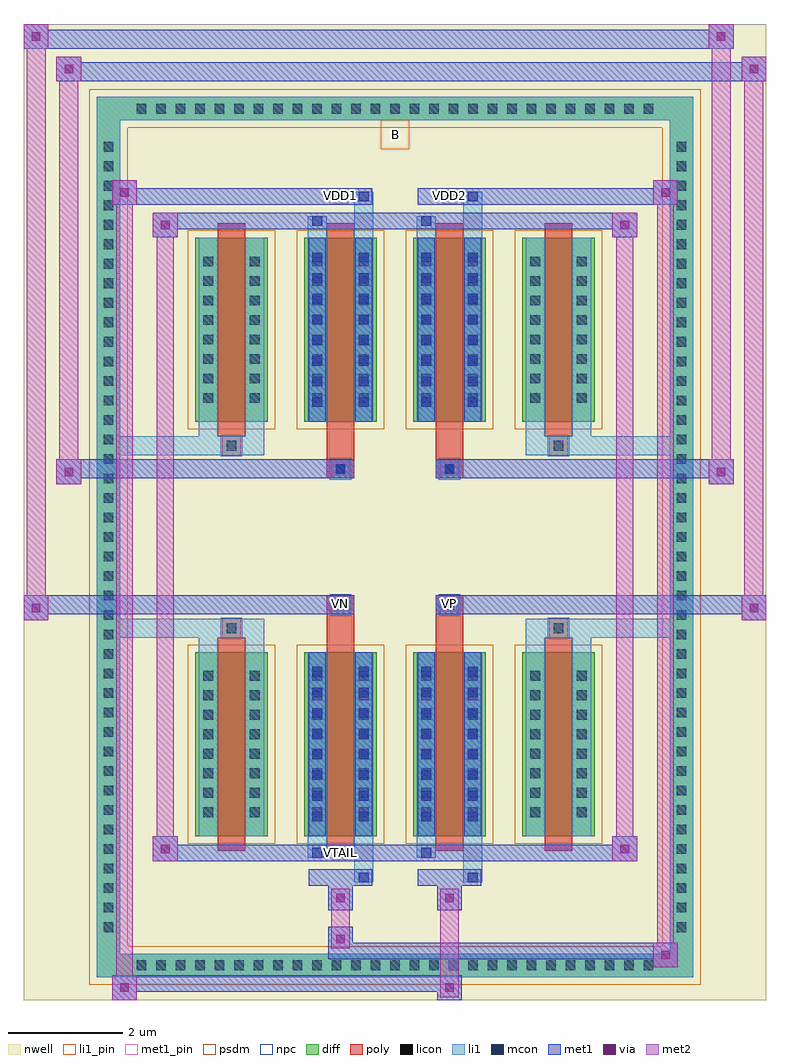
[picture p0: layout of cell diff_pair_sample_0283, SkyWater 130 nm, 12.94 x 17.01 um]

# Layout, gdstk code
import gdstk
lib = gdstk.Library(unit=1e-6, precision=5e-09)
def R(c, l, rs):  # rectangles x0, y0, x1, y1
    for r in rs: c.add(gdstk.rectangle(r[:2], r[2:], *l))
def A(c, l, x, y, w, h, nx, ny, dx, dy):  # array of equal rectangles
    R(c, l, [(x+i*dx, y+j*dy, x+i*dx+w, y+j*dy+h) for i in range(nx) for j in range(ny)])
def P(c, l, *ps):  # polygons
    for p in ps: c.add(gdstk.Polygon(p, *l))
nwell = (64, 20)
diff = (65, 20)
poly = (66, 20)
licon = (66, 44)
li1_pin = (67, 16)
li1 = (67, 20)
mcon = (67, 44)
met1_pin = (68, 16)
met1 = (68, 20)
via = (68, 44)
met2 = (69, 20)
psdm = (94, 20)
npc = (95, 20)

diff_pair_sample_0283 = lib.new_cell('diff_pair_sample_0283')
R(diff_pair_sample_0283, nwell, [(-6.47,-8.07,6.47,8.94), (-3.79,-6.26,-0.01,-0.82), (0.01,-6.26,3.79,-0.82), (-3.79,0.82,-0.01,6.26), (0.01,0.82,3.79,6.26)])
A(diff_pair_sample_0283, diff, -4.625, -7.67, 0.41, 0.41, 27, 2, 0.34, 14.93)
A(diff_pair_sample_0283, diff, -5.2, -7.005, 0.41, 0.41, 1, 41, 0, 0.34)
A(diff_pair_sample_0283, diff, 4.79, -7.005, 0.41, 0.41, 1, 41, 0, 0.34)
A(diff_pair_sample_0283, diff, -3.48, -5.215, 1.26, 3.21, 4, 2, 1.9, 7.22)
R(diff_pair_sample_0283, diff, [(-4.625,-7.67,4.625,-7.26), (-5.2,-7.005,-4.79,7.005), (4.79,-7.005,5.2,7.005), (-4.625,7.26,4.625,7.67)])
P(diff_pair_sample_0283, diff, [(5.2,7.67),(-5.2,7.67),(-5.2,-7.26),(-4.79,-7.26),(-4.79,7.26),(4.79,7.26),(4.79,-7.26),(-4.79,-7.26),(-5.2,-7.26),(-5.2,-7.67),(5.2,-7.67)])
A(diff_pair_sample_0283, poly, -3.09, -5.465, 0.48, 3.71, 4, 2, 1.9, 7.22)
R(diff_pair_sample_0283, poly, [(-3.015,-1.755,-2.685,-1.425), (-3.015,-1.755,-2.685,-1.425), (-1.19,-1.755,-0.71,-1.35), (0.71,-1.755,1.19,-1.35), (2.685,-1.755,3.015,-1.425), (2.685,-1.755,3.015,-1.425), (-1.19,-1.35,-0.71,-1.02), (-1.115,-1.35,-0.785,-1.02), (0.71,-1.35,1.19,-1.02), (0.785,-1.35,1.115,-1.02), (-1.19,1.02,-0.71,1.35), (-1.115,1.02,-0.785,1.35), (0.71,1.02,1.19,1.35), (0.785,1.02,1.115,1.35), (-1.19,1.35,-0.71,1.755), (0.71,1.35,1.19,1.755), (-3.015,1.425,-2.685,1.755), (-3.015,1.425,-2.685,1.755), (2.685,1.425,3.015,1.755), (2.685,1.425,3.015,1.755)])
A(diff_pair_sample_0283, licon, -4.505, -7.55, 0.17, 0.17, 27, 2, 0.34, 14.93)
A(diff_pair_sample_0283, licon, -5.08, -6.885, 0.17, 0.17, 1, 41, 0, 0.34)
A(diff_pair_sample_0283, licon, 4.91, -6.885, 0.17, 0.17, 1, 41, 0, 0.34)
A(diff_pair_sample_0283, licon, -3.34, -4.885, 0.17, 0.17, 1, 8, 0, 0.34)
A(diff_pair_sample_0283, licon, -2.53, -4.885, 0.17, 0.17, 1, 8, 0, 0.34)
A(diff_pair_sample_0283, licon, -1.44, -4.885, 0.17, 0.17, 1, 8, 0, 0.34)
A(diff_pair_sample_0283, licon, -0.63, -4.885, 0.17, 0.17, 1, 8, 0, 0.34)
A(diff_pair_sample_0283, licon, 0.46, -4.885, 0.17, 0.17, 1, 8, 0, 0.34)
A(diff_pair_sample_0283, licon, 1.27, -4.885, 0.17, 0.17, 1, 8, 0, 0.34)
A(diff_pair_sample_0283, licon, 2.36, -4.885, 0.17, 0.17, 1, 8, 0, 0.34)
A(diff_pair_sample_0283, licon, 3.17, -4.885, 0.17, 0.17, 1, 8, 0, 0.34)
A(diff_pair_sample_0283, licon, -3.34, 2.335, 0.17, 0.17, 1, 8, 0, 0.34)
A(diff_pair_sample_0283, licon, -2.53, 2.335, 0.17, 0.17, 1, 8, 0, 0.34)
A(diff_pair_sample_0283, licon, -1.44, 2.335, 0.17, 0.17, 1, 8, 0, 0.34)
A(diff_pair_sample_0283, licon, -0.63, 2.335, 0.17, 0.17, 1, 8, 0, 0.34)
A(diff_pair_sample_0283, licon, 0.46, 2.335, 0.17, 0.17, 1, 8, 0, 0.34)
A(diff_pair_sample_0283, licon, 1.27, 2.335, 0.17, 0.17, 1, 8, 0, 0.34)
A(diff_pair_sample_0283, licon, 2.36, 2.335, 0.17, 0.17, 1, 8, 0, 0.34)
A(diff_pair_sample_0283, licon, 3.17, 2.335, 0.17, 0.17, 1, 8, 0, 0.34)
R(diff_pair_sample_0283, licon, [(-2.935,-1.675,-2.765,-1.505), (2.765,-1.675,2.935,-1.505), (-1.035,-1.27,-0.865,-1.1), (0.865,-1.27,1.035,-1.1), (-1.035,1.1,-0.865,1.27), (0.865,1.1,1.035,1.27), (-2.935,1.505,-2.765,1.675), (2.765,1.505,2.935,1.675)])
R(diff_pair_sample_0283, li1_pin, [(-0.25,6.76,0.25,7.26)])
A(diff_pair_sample_0283, li1, -4.585, -7.63, 0.33, 0.33, 27, 2, 0.34, 14.93)
A(diff_pair_sample_0283, li1, -5.16, -6.965, 0.33, 0.33, 1, 41, 0, 0.34)
A(diff_pair_sample_0283, li1, 4.83, -6.965, 0.33, 0.33, 1, 41, 0, 0.34)
A(diff_pair_sample_0283, li1, -3.42, -4.965, 0.33, 0.33, 1, 8, 0, 0.34)
A(diff_pair_sample_0283, li1, -2.61, -4.965, 0.33, 0.33, 1, 8, 0, 0.34)
A(diff_pair_sample_0283, li1, -1.52, -4.965, 0.33, 0.33, 1, 8, 0, 0.34)
A(diff_pair_sample_0283, li1, -0.71, -4.965, 0.33, 0.33, 1, 8, 0, 0.34)
A(diff_pair_sample_0283, li1, 0.38, -4.965, 0.33, 0.33, 1, 8, 0, 0.34)
A(diff_pair_sample_0283, li1, 1.19, -4.965, 0.33, 0.33, 1, 8, 0, 0.34)
A(diff_pair_sample_0283, li1, 2.28, -4.965, 0.33, 0.33, 1, 8, 0, 0.34)
A(diff_pair_sample_0283, li1, 3.09, -4.965, 0.33, 0.33, 1, 8, 0, 0.34)
A(diff_pair_sample_0283, li1, -1.44, -4.955, 0.17, 0.17, 1, 8, 0, 0.36)
A(diff_pair_sample_0283, li1, -0.63, -4.955, 0.17, 0.17, 1, 8, 0, 0.36)
A(diff_pair_sample_0283, li1, 0.46, -4.955, 0.17, 0.17, 1, 8, 0, 0.36)
A(diff_pair_sample_0283, li1, 1.27, -4.955, 0.17, 0.17, 1, 8, 0, 0.36)
A(diff_pair_sample_0283, li1, -3.42, 2.255, 0.33, 0.33, 1, 8, 0, 0.34)
A(diff_pair_sample_0283, li1, -2.61, 2.255, 0.33, 0.33, 1, 8, 0, 0.34)
A(diff_pair_sample_0283, li1, -1.52, 2.255, 0.33, 0.33, 1, 8, 0, 0.34)
A(diff_pair_sample_0283, li1, -0.71, 2.255, 0.33, 0.33, 1, 8, 0, 0.34)
A(diff_pair_sample_0283, li1, 0.38, 2.255, 0.33, 0.33, 1, 8, 0, 0.34)
A(diff_pair_sample_0283, li1, 1.19, 2.255, 0.33, 0.33, 1, 8, 0, 0.34)
A(diff_pair_sample_0283, li1, 2.28, 2.255, 0.33, 0.33, 1, 8, 0, 0.34)
A(diff_pair_sample_0283, li1, 3.09, 2.255, 0.33, 0.33, 1, 8, 0, 0.34)
A(diff_pair_sample_0283, li1, -1.44, 2.265, 0.17, 0.17, 1, 8, 0, 0.36)
A(diff_pair_sample_0283, li1, -0.63, 2.265, 0.17, 0.17, 1, 8, 0, 0.36)
A(diff_pair_sample_0283, li1, 0.46, 2.265, 0.17, 0.17, 1, 8, 0, 0.36)
A(diff_pair_sample_0283, li1, 1.27, 2.265, 0.17, 0.17, 1, 8, 0, 0.36)
R(diff_pair_sample_0283, li1, [(-5.2,-7.67,-4.79,-7.26), (-5.2,-7.67,-4.79,-7.26), (-4.79,-7.67,4.79,-7.26), (4.79,-7.67,5.2,-7.26), (4.79,-7.67,5.2,-7.26), (-5.2,-7.26,-4.79,7.26), (4.79,-7.26,5.2,7.26), (-0.71,-6.02,-0.38,-5.215), (-0.63,-6.02,-0.46,-5.85), (1.19,-6.02,1.52,-5.215), (1.27,-6.02,1.44,-5.85), (-1.52,-5.59,-1.19,-5.215), (-1.44,-5.59,-1.27,-5.42), (0.38,-5.59,0.71,-5.215), (0.46,-5.59,0.63,-5.42), (-3.42,-5.215,-3.09,-2.005), (-2.61,-5.215,-2.28,-2.005), (-1.52,-5.215,-1.19,-2.005), (-0.71,-5.215,-0.38,-2.005), (0.38,-5.215,0.71,-2.005), (1.19,-5.215,1.52,-2.005), (2.28,-5.215,2.61,-2.005), (3.09,-5.215,3.42,-2.005), (-1.44,-4.955,-1.27,-2.265), (-0.63,-4.955,-0.46,-2.265), (0.46,-4.955,0.63,-2.265), (1.27,-4.955,1.44,-2.265), (-3.42,-2.005,-3.09,-1.425), (-2.61,-2.005,-2.28,-1.425), (2.28,-2.005,2.61,-1.425), (3.09,-2.005,3.42,-1.425), (-5.2,-1.755,-3.015,-1.425), (-3.42,-1.755,-3.015,-1.425), (-3.015,-1.755,-2.685,-1.425), (-2.685,-1.755,-2.28,-1.425), (2.28,-1.755,2.685,-1.425), (2.685,-1.755,3.015,-1.425), (2.685,-1.755,5.2,-1.425), (3.015,-1.755,3.42,-1.425), (-1.115,-1.35,-0.785,-1.02), (0.785,-1.35,1.115,-1.02), (-1.115,1.02,-0.785,1.35), (0.785,1.02,1.115,1.35), (-5.2,1.425,-3.015,1.755), (-3.42,1.425,-3.015,1.755), (-3.42,1.425,-3.09,2.005), (-3.015,1.425,-2.685,1.755), (-2.685,1.425,-2.28,1.755), (-2.61,1.425,-2.28,2.005), (2.28,1.425,2.685,1.755), (2.28,1.425,2.61,2.005), (2.685,1.425,3.015,1.755), (2.685,1.425,5.2,1.755), (3.015,1.425,3.42,1.755), (3.09,1.425,3.42,2.005), (-3.42,2.005,-3.09,5.215), (-2.61,2.005,-2.28,5.215), (-1.52,2.005,-1.19,5.215), (-0.71,2.005,-0.38,5.215), (0.38,2.005,0.71,5.215), (1.19,2.005,1.52,5.215), (2.28,2.005,2.61,5.215), (3.09,2.005,3.42,5.215), (-1.44,2.265,-1.27,4.955), (-0.63,2.265,-0.46,4.955), (0.46,2.265,0.63,4.955), (1.27,2.265,1.44,4.955), (-1.52,5.215,-1.19,5.59), (-0.71,5.215,-0.38,6.02), (0.38,5.215,0.71,5.59), (1.19,5.215,1.52,6.02), (-1.44,5.42,-1.27,5.59), (0.46,5.42,0.63,5.59), (-0.63,5.85,-0.46,6.02), (1.27,5.85,1.44,6.02), (-5.2,7.26,-4.79,7.67), (-5.2,7.26,-4.79,7.67), (-4.79,7.26,4.79,7.67), (4.79,7.26,5.2,7.67), (4.79,7.26,5.2,7.67)])
A(diff_pair_sample_0283, mcon, -1.44, -4.955, 0.17, 0.17, 1, 8, 0, 0.36)
A(diff_pair_sample_0283, mcon, -0.63, -4.955, 0.17, 0.17, 1, 8, 0, 0.36)
A(diff_pair_sample_0283, mcon, 0.46, -4.955, 0.17, 0.17, 1, 8, 0, 0.36)
A(diff_pair_sample_0283, mcon, 1.27, -4.955, 0.17, 0.17, 1, 8, 0, 0.36)
A(diff_pair_sample_0283, mcon, -1.44, 2.265, 0.17, 0.17, 1, 8, 0, 0.36)
A(diff_pair_sample_0283, mcon, -0.63, 2.265, 0.17, 0.17, 1, 8, 0, 0.36)
A(diff_pair_sample_0283, mcon, 0.46, 2.265, 0.17, 0.17, 1, 8, 0, 0.36)
A(diff_pair_sample_0283, mcon, 1.27, 2.265, 0.17, 0.17, 1, 8, 0, 0.36)
R(diff_pair_sample_0283, mcon, [(-0.63,-6.02,-0.46,-5.85), (1.27,-6.02,1.44,-5.85), (-1.44,-5.59,-1.27,-5.42), (0.46,-5.59,0.63,-5.42), (-1.035,-1.27,-0.865,-1.1), (0.865,-1.27,1.035,-1.1), (-1.035,1.1,-0.865,1.27), (0.865,1.1,1.035,1.27), (-1.44,5.42,-1.27,5.59), (0.46,5.42,0.63,5.59), (-0.63,5.85,-0.46,6.02), (1.27,5.85,1.44,6.02)])
R(diff_pair_sample_0283, met1_pin, [(-1.085,-5.63,-0.815,-5.36), (-1.085,-1.29,-0.815,-1.02), (0.815,-1.29,1.085,-1.02), (-1.085,5.81,-0.815,6.08), (0.815,5.81,1.085,6.08)])
A(diff_pair_sample_0283, met1, -1.5, -5.015, 0.29, 0.29, 1, 8, 0, 0.36)
A(diff_pair_sample_0283, met1, -0.69, -5.015, 0.29, 0.29, 1, 8, 0, 0.36)
A(diff_pair_sample_0283, met1, 0.4, -5.015, 0.29, 0.29, 1, 8, 0, 0.36)
A(diff_pair_sample_0283, met1, 1.21, -5.015, 0.29, 0.29, 1, 8, 0, 0.36)
A(diff_pair_sample_0283, met1, -1.5, 2.205, 0.29, 0.29, 1, 8, 0, 0.36)
A(diff_pair_sample_0283, met1, -0.69, 2.205, 0.29, 0.29, 1, 8, 0, 0.36)
A(diff_pair_sample_0283, met1, 0.4, 2.205, 0.29, 0.29, 1, 8, 0, 0.36)
A(diff_pair_sample_0283, met1, 1.21, 2.205, 0.29, 0.29, 1, 8, 0, 0.36)
R(diff_pair_sample_0283, met1, [(-4.93,-8.07,-4.5,-7.64), (0.735,-8.07,1.165,-7.64), (-4.93,-7.93,1.165,-7.64), (4.5,-7.5,4.93,-7.07), (-1.165,-7.36,4.93,-7.07), (-1.165,-7.22,-0.735,-6.79), (-1.165,-6.51,-0.735,-6.08), (0.735,-6.51,1.165,-6.08), (-1.5,-6.08,-0.4,-5.79), (-0.69,-6.08,-0.4,-5.79), (0.4,-6.08,1.5,-5.79), (1.21,-6.08,1.5,-5.79), (-4.22,-5.65,-3.79,-5.22), (-4.22,-5.65,-1.5,-5.36), (-1.5,-5.65,-1.21,-5.36), (-1.5,-5.65,-0.4,-5.36), (-0.4,-5.65,0.4,-5.36), (0.4,-5.65,0.69,-5.36), (0.4,-5.65,1.5,-5.36), (1.5,-5.65,4.22,-5.36), (3.79,-5.65,4.22,-5.22), (-1.5,-5.215,-1.21,-2.005), (-0.69,-5.215,-0.4,-2.005), (0.4,-5.215,0.69,-2.005), (1.21,-5.215,1.5,-2.005), (-6.47,-1.45,-6.04,-1.02), (6.04,-1.45,6.47,-1.02), (-6.47,-1.35,-0.71,-1.02), (-1.19,-1.35,-0.71,-1.02), (0.71,-1.35,1.19,-1.02), (0.71,-1.35,6.47,-1.02), (-1.095,-1.33,-0.805,-1.04), (0.805,-1.33,1.095,-1.04), (-5.9,0.92,-5.47,1.35), (5.47,0.92,5.9,1.35), (-5.9,1.02,-1.19,1.35), (-1.19,1.02,-0.71,1.35), (0.71,1.02,1.19,1.35), (1.19,1.02,5.9,1.35), (-1.095,1.04,-0.805,1.33), (0.805,1.04,1.095,1.33), (-1.5,2.005,-1.21,5.215), (-0.69,2.005,-0.4,5.215), (0.4,2.005,0.69,5.215), (1.21,2.005,1.5,5.215), (-4.22,5.22,-3.79,5.65), (3.79,5.22,4.22,5.65), (-4.22,5.36,-1.5,5.65), (-1.5,5.36,-1.21,5.65), (-1.5,5.36,-0.4,5.65), (-0.4,5.36,0.4,5.65), (0.4,5.36,0.69,5.65), (0.4,5.36,1.5,5.65), (1.5,5.36,4.22,5.65), (-4.93,5.79,-4.5,6.22), (-4.93,5.79,-1.5,6.08), (-1.5,5.79,-0.4,6.08), (-0.69,5.79,-0.4,6.08), (0.4,5.79,1.5,6.08), (1.21,5.79,1.5,6.08), (1.5,5.79,4.93,6.08), (4.5,5.79,4.93,6.22), (-5.9,7.94,-5.47,8.37), (-5.9,7.94,-3.79,8.27), (-3.79,7.94,3.79,8.27), (3.79,7.94,6.47,8.27), (6.04,7.94,6.47,8.37), (-6.47,8.51,-6.04,8.94), (-6.47,8.51,-3.79,8.84), (-3.79,8.51,3.79,8.84), (3.79,8.51,5.9,8.84), (5.47,8.51,5.9,8.94)])
R(diff_pair_sample_0283, via, [(-4.79,-7.93,-4.64,-7.78), (0.875,-7.93,1.025,-7.78), (4.64,-7.36,4.79,-7.21), (-1.025,-7.08,-0.875,-6.93), (-1.025,-6.37,-0.875,-6.22), (0.875,-6.37,1.025,-6.22), (-4.08,-5.51,-3.93,-5.36), (3.93,-5.51,4.08,-5.36), (-6.33,-1.31,-6.18,-1.16), (6.18,-1.31,6.33,-1.16), (-5.76,1.06,-5.61,1.21), (5.61,1.06,5.76,1.21), (-4.08,5.36,-3.93,5.51), (3.93,5.36,4.08,5.51), (-4.79,5.93,-4.64,6.08), (4.64,5.93,4.79,6.08), (-5.76,8.08,-5.61,8.23), (6.18,8.08,6.33,8.23), (-6.33,8.65,-6.18,8.8), (5.61,8.65,5.76,8.8)])
R(diff_pair_sample_0283, met2, [(-4.93,-8.07,-4.5,-7.64), (-4.86,-8.07,-4.57,6.22), (-4.57,-8.07,-4.5,-7.64), (-4.88,-8.02,-4.55,-7.69), (0.785,-8.02,1.115,-7.69), (0.785,-7.69,1.115,-6.46), (4.5,-7.5,4.93,-7.07), (4.57,-7.5,4.86,6.22), (4.86,-7.5,4.93,-7.07), (4.55,-7.45,4.88,-7.12), (-1.115,-7.17,-0.785,-6.84), (-1.115,-6.84,-0.785,-6.46), (-1.115,-6.46,-0.785,-6.13), (0.785,-6.46,1.115,-6.13), (-4.22,-5.65,-3.79,-5.22), (-4.15,-5.65,-3.86,5.65), (-3.86,-5.65,-3.79,-5.22), (3.79,-5.65,4.22,-5.22), (3.86,-5.65,4.15,5.65), (4.15,-5.65,4.22,-5.22), (-4.17,-5.6,-3.84,-5.27), (3.84,-5.6,4.17,-5.27), (-6.47,-1.45,-6.04,-1.02), (-6.42,-1.45,-6.09,8.94), (-6.09,-1.45,-6.04,-1.02), (6.04,-1.45,6.47,-1.02), (6.09,-1.45,6.42,8.37), (6.42,-1.45,6.47,-1.02), (-6.42,-1.4,-6.09,-1.07), (6.09,-1.4,6.42,-1.07), (-5.9,0.92,-5.47,1.35), (-5.85,0.92,-5.52,8.37), (-5.52,0.92,-5.47,1.35), (5.47,0.92,5.9,1.35), (5.52,0.92,5.85,8.94), (5.85,0.92,5.9,1.35), (-5.85,0.97,-5.52,1.3), (5.52,0.97,5.85,1.3), (-4.22,5.22,-3.79,5.65), (-3.86,5.22,-3.79,5.65), (3.79,5.22,4.22,5.65), (4.15,5.22,4.22,5.65), (-4.17,5.27,-3.84,5.6), (3.84,5.27,4.17,5.6), (-4.93,5.79,-4.5,6.22), (-4.57,5.79,-4.5,6.22), (4.5,5.79,4.93,6.22), (4.86,5.79,4.93,6.22), (-4.88,5.84,-4.55,6.17), (4.55,5.84,4.88,6.17), (-5.9,7.94,-5.47,8.37), (-5.52,7.94,-5.47,8.37), (6.04,7.94,6.47,8.37), (6.42,7.94,6.47,8.37), (-5.85,7.99,-5.52,8.32), (6.09,7.99,6.42,8.32), (-6.47,8.51,-6.04,8.94), (-6.09,8.51,-6.04,8.94), (5.47,8.51,5.9,8.94), (5.85,8.51,5.9,8.94), (-6.42,8.56,-6.09,8.89), (5.52,8.56,5.85,8.89)])
A(diff_pair_sample_0283, psdm, -3.61, -5.345, 1.52, 3.47, 4, 2, 1.9, 7.22)
P(diff_pair_sample_0283, psdm, [(5.33,7.8),(-5.33,7.8),(-5.33,-7.13),(-4.66,-7.13),(-4.66,7.13),(4.66,7.13),(4.66,-7.13),(-4.66,-7.13),(-5.33,-7.13),(-5.33,-7.8),(5.33,-7.8)])
R(diff_pair_sample_0283, npc, [(-3.035,-1.775,-2.665,-1.405), (2.665,-1.775,3.035,-1.405), (-1.135,-1.37,-0.765,-1), (0.765,-1.37,1.135,-1), (-1.135,1,-0.765,1.37), (0.765,1,1.135,1.37), (-3.035,1.405,-2.665,1.775), (2.665,1.405,3.035,1.775)])
diff_pair_sample_0283.add(gdstk.Label('VTAIL', (-0.95,-5.495), layer=68, texttype=5))
diff_pair_sample_0283.add(gdstk.Label('VN', (-0.95,-1.155), layer=68, texttype=5))
diff_pair_sample_0283.add(gdstk.Label('VP', (0.95,-1.155), layer=68, texttype=5))
diff_pair_sample_0283.add(gdstk.Label('B', (0,7.01), layer=67, texttype=5))
diff_pair_sample_0283.add(gdstk.Label('VDD2', (0.95,5.945), layer=68, texttype=5))
diff_pair_sample_0283.add(gdstk.Label('VDD1', (-0.95,5.945), layer=68, texttype=5))

lib.write_gds('diff_pair_sample_0283.gds')
